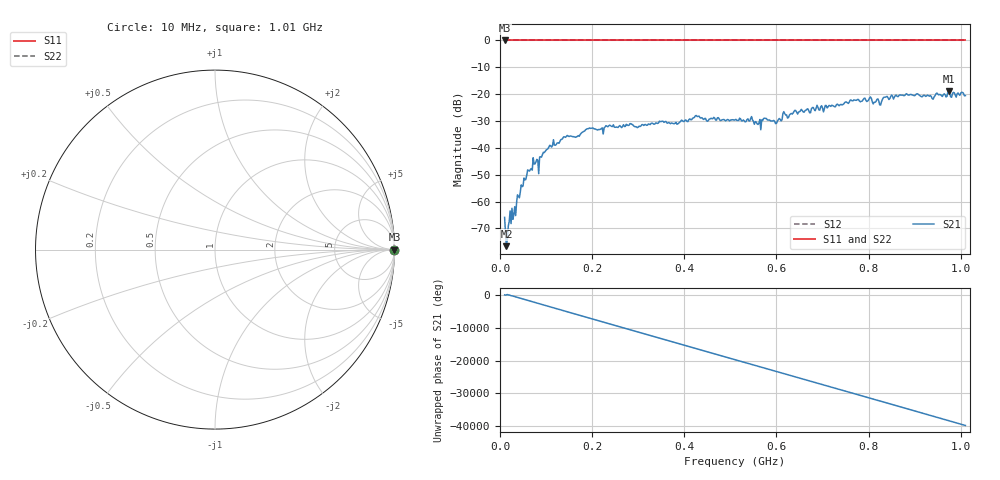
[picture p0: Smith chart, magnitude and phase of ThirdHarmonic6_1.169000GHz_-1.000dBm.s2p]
! 8/16/2025 11:49:07 AM
! C:\ANRITSUVNA\TEMP\TEMP.S2P
! CHANNEL.1
! TR.MEASUREMENT
! RAW.DATA
! RF.CORRECTION.OFF
! AVERAGING.OFF
! IF.BANDWIDTH: 5KHZ
! SWEEPTYPE:  FREQ.SWEEP(Linear)
! Reference Plane Port Info
! PORT:  PORT1  PORT2
! DISTANCE:  0  m  0  m
! TIME:  0  s  0  s
! PHASE.OFFSET:  0  deg.  0  deg.
! LOSS:  0  dB  0  dB
! REF.LOSS:  0  dB  0  dB
! REF.FREQ:  0  Hz  0  Hz
! Power Info
! POWER:  -20  dBm  -20  dBm
! EFF.POWER:  -20  dBm  -20  dBm
! SOURCE.ATTEN:  0  dB  0  dB
! TEST.ATTEN:  0  dB  0  dB
# GHZ S RI R 50.0
! FREQ.GHZ  S11RE  S11IM  S21RE  S21IM  S12RE  S12IM  S22RE  S22IM
!; PortSelection: Port_12
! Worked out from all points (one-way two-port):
!   501 points, 10 MHz to 1.01 GHz, reference 50 ohm
!   highest |S21| = -18.90 dB at 974 MHz (marker M1); lowest = -76.6 dB at 14 MHz (marker M2)
!   lowest |S11| = 0.0 dB at 10 MHz (marker M3)
!   |S11| at or under -10 dB: nowhere
!   |S22| runs from 0.0 to 0.0 dB; largest |S21 - S12| = 1.1
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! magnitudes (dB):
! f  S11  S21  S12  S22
! 10 MHz  0.0  -65.9  0.0  0.0
! 14 MHz  0.0  -76.6  0.0  0.0
! 16 MHz  0.0  -74.0  0.0  0.0
! 22 MHz  0.0  -63.4  0.0  0.0
! 32 MHz  0.0  -61.9  0.0  0.0
! 50 MHz  0.0  -54.2  0.0  0.0
! 76 MHz  0.0  -46.0  0.0  0.0
! 80 MHz  0.0  -44.3  0.0  0.0
! 112 MHz  0.0  -39.7  0.0  0.0
! 178 MHz  0.0  -34.3  0.0  0.0
! 344 MHz  0.0  -30.7  0.0  0.0
! 384 MHz  0.0  -31.2  0.0  0.0
! 428 MHz  0.0  -28.3  0.0  0.0
! 510 MHz  0.0  -29.6  0.0  0.0
! 598 MHz  0.0  -31.0  0.0  0.0
! 618 MHz  0.0  -27.3  0.0  0.0
! 678 MHz  0.0  -25.0  0.0  0.0
! 764 MHz  0.0  -22.5  0.0  0.0
! 826 MHz  0.0  -24.1  0.0  0.0
! 844 MHz  0.0  -22.0  0.0  0.0
! 974 MHz  0.0  -18.9  0.0  0.0
! 1.01 GHz  0.0  -20.5  0.0  0.0
